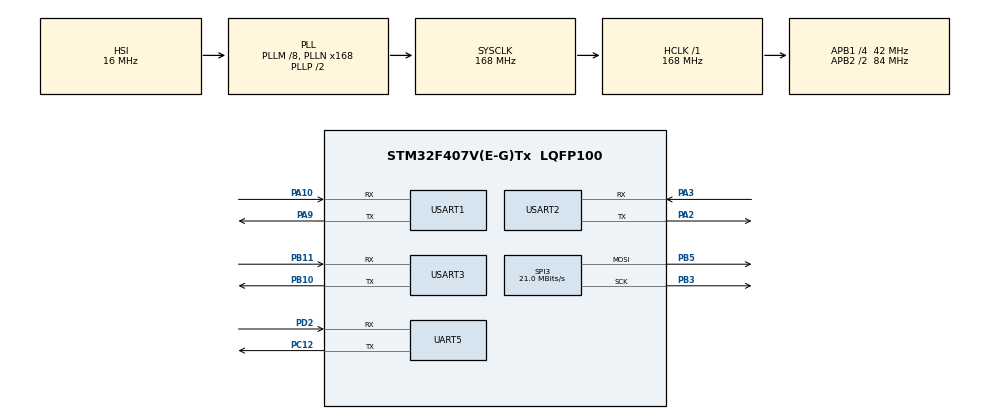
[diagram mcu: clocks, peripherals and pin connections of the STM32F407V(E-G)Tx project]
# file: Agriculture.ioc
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Dma.Request0=USART1_RX
Dma.Request1=USART1_TX
Dma.Request2=USART2_RX
Dma.Request3=USART2_TX
Dma.Request4=USART3_RX
Dma.Request5=USART3_TX
Dma.Request6=UART5_RX
Dma.Request7=UART5_TX
Dma.UART5_RX.6.Direction=DMA_PERIPH_TO_MEMORY
Dma.UART5_RX.6.FIFOMode=DMA_FIFOMODE_DISABLE
Dma.UART5_RX.6.Instance=DMA1_Stream0
Dma.UART5_RX.6.MemDataAlignment=DMA_MDATAALIGN_BYTE
Dma.UART5_RX.6.MemInc=DMA_MINC_ENABLE
Dma.UART5_RX.6.Mode=DMA_CIRCULAR
Dma.UART5_RX.6.PeriphDataAlignment=DMA_PDATAALIGN_BYTE
Dma.UART5_RX.6.PeriphInc=DMA_PINC_DISABLE
Dma.UART5_RX.6.Priority=DMA_PRIORITY_LOW
Dma.UART5_TX.7.Direction=DMA_MEMORY_TO_PERIPH
Dma.UART5_TX.7.FIFOMode=DMA_FIFOMODE_DISABLE
Dma.UART5_TX.7.Instance=DMA1_Stream7
Dma.UART5_TX.7.MemDataAlignment=DMA_MDATAALIGN_BYTE
Dma.UART5_TX.7.MemInc=DMA_MINC_ENABLE
Dma.UART5_TX.7.Mode=DMA_NORMAL
Dma.UART5_TX.7.PeriphDataAlignment=DMA_PDATAALIGN_BYTE
Dma.UART5_TX.7.PeriphInc=DMA_PINC_DISABLE
Dma.UART5_TX.7.Priority=DMA_PRIORITY_LOW
Dma.USART1_RX.0.Direction=DMA_PERIPH_TO_MEMORY
Dma.USART1_RX.0.FIFOMode=DMA_FIFOMODE_DISABLE
Dma.USART1_RX.0.Instance=DMA2_Stream2
Dma.USART1_RX.0.MemDataAlignment=DMA_MDATAALIGN_BYTE
Dma.USART1_RX.0.MemInc=DMA_MINC_ENABLE
Dma.USART1_RX.0.Mode=DMA_CIRCULAR
Dma.USART1_RX.0.PeriphDataAlignment=DMA_PDATAALIGN_BYTE
Dma.USART1_RX.0.PeriphInc=DMA_PINC_DISABLE
Dma.USART1_RX.0.Priority=DMA_PRIORITY_LOW
Dma.USART1_TX.1.Direction=DMA_MEMORY_TO_PERIPH
Dma.USART1_TX.1.FIFOMode=DMA_FIFOMODE_DISABLE
Dma.USART1_TX.1.Instance=DMA2_Stream7
Dma.USART1_TX.1.MemDataAlignment=DMA_MDATAALIGN_BYTE
Dma.USART1_TX.1.MemInc=DMA_MINC_ENABLE
Dma.USART1_TX.1.Mode=DMA_NORMAL
Dma.USART1_TX.1.PeriphDataAlignment=DMA_PDATAALIGN_BYTE
Dma.USART1_TX.1.PeriphInc=DMA_PINC_DISABLE
Dma.USART1_TX.1.Priority=DMA_PRIORITY_LOW
Dma.USART2_RX.2.Direction=DMA_PERIPH_TO_MEMORY
Dma.USART2_RX.2.FIFOMode=DMA_FIFOMODE_DISABLE
Dma.USART2_RX.2.Instance=DMA1_Stream5
Dma.USART2_RX.2.MemDataAlignment=DMA_MDATAALIGN_BYTE
Dma.USART2_RX.2.MemInc=DMA_MINC_ENABLE
Dma.USART2_RX.2.Mode=DMA_CIRCULAR
Dma.USART2_RX.2.PeriphDataAlignment=DMA_PDATAALIGN_BYTE
Dma.USART2_RX.2.PeriphInc=DMA_PINC_DISABLE
Dma.USART2_RX.2.Priority=DMA_PRIORITY_LOW
Dma.USART2_TX.3.Direction=DMA_MEMORY_TO_PERIPH
Dma.USART2_TX.3.FIFOMode=DMA_FIFOMODE_DISABLE
Dma.USART2_TX.3.Instance=DMA1_Stream6
Dma.USART2_TX.3.MemDataAlignment=DMA_MDATAALIGN_BYTE
Dma.USART2_TX.3.MemInc=DMA_MINC_ENABLE
Dma.USART2_TX.3.Mode=DMA_NORMAL
Dma.USART2_TX.3.PeriphDataAlignment=DMA_PDATAALIGN_BYTE
Dma.USART2_TX.3.PeriphInc=DMA_PINC_DISABLE
Dma.USART2_TX.3.Priority=DMA_PRIORITY_LOW
Dma.USART3_RX.4.Direction=DMA_PERIPH_TO_MEMORY
Dma.USART3_RX.4.FIFOMode=DMA_FIFOMODE_DISABLE
Dma.USART3_RX.4.Instance=DMA1_Stream1
Dma.USART3_RX.4.MemDataAlignment=DMA_MDATAALIGN_BYTE
Dma.USART3_RX.4.MemInc=DMA_MINC_ENABLE
Dma.USART3_RX.4.Mode=DMA_CIRCULAR
Dma.USART3_RX.4.PeriphDataAlignment=DMA_PDATAALIGN_BYTE
Dma.USART3_RX.4.PeriphInc=DMA_PINC_DISABLE
Dma.USART3_RX.4.Priority=DMA_PRIORITY_LOW
Dma.USART3_TX.5.Direction=DMA_MEMORY_TO_PERIPH
Dma.USART3_TX.5.FIFOMode=DMA_FIFOMODE_DISABLE
Dma.USART3_TX.5.Instance=DMA1_Stream3
Dma.USART3_TX.5.MemDataAlignment=DMA_MDATAALIGN_BYTE
Dma.USART3_TX.5.MemInc=DMA_MINC_ENABLE
Dma.USART3_TX.5.Mode=DMA_NORMAL
Dma.USART3_TX.5.PeriphDataAlignment=DMA_PDATAALIGN_BYTE
Dma.USART3_TX.5.PeriphInc=DMA_PINC_DISABLE
Dma.USART3_TX.5.Priority=DMA_PRIORITY_LOW
FREERTOS.Tasks01=Chassis_Task,17,512,StartChassis_Task,Default,NULL,Dynamic,NULL,NULL;Data_Task,24,512,StartData_Task,Default,NULL,Dynamic,NULL,NULL
FREERTOS.configMINIMAL_STACK_SIZE=512
FREERTOS.configTOTAL_HEAP_SIZE=40000
Mcu.Family=STM32F4
Mcu.Name=STM32F407V(E-G)Tx
Mcu.Package=LQFP100
NVIC.DMA1_Stream0_IRQn=true\:5\:0\:false\:false\:true\:true\:false\:true\:true
NVIC.DMA1_Stream1_IRQn=true\:5\:0\:false\:false\:true\:true\:false\:true\:true
NVIC.DMA1_Stream3_IRQn=true\:5\:0\:false\:false\:true\:true\:false\:true\:true
NVIC.DMA1_Stream5_IRQn=true\:5\:0\:false\:false\:true\:true\:false\:true\:true
NVIC.DMA1_Stream6_IRQn=true\:5\:0\:false\:false\:true\:true\:false\:true\:true
NVIC.DMA1_Stream7_IRQn=true\:5\:0\:false\:false\:true\:true\:false\:true\:true
NVIC.DMA2_Stream2_IRQn=true\:5\:0\:false\:false\:true\:true\:false\:true\:true
NVIC.DMA2_Stream7_IRQn=true\:5\:0\:false\:false\:true\:true\:false\:true\:true
NVIC.PriorityGroup=NVIC_PRIORITYGROUP_4
NVIC.TIM6_DAC_IRQn=true\:15\:0\:false\:false\:true\:false\:false\:true\:true
NVIC.TimeBase=TIM6_DAC_IRQn
NVIC.TimeBaseIP=TIM6
NVIC.UART5_IRQn=true\:5\:0\:false\:false\:true\:true\:false\:true\:true
NVIC.USART1_IRQn=true\:5\:0\:false\:false\:true\:true\:false\:true\:true
NVIC.USART2_IRQn=true\:5\:0\:false\:false\:true\:true\:false\:true\:true
NVIC.USART3_IRQn=true\:5\:0\:false\:false\:true\:true\:false\:true\:true
PA10.Mode=Asynchronous
PA10.Signal=USART1_RX
PA13.Mode=Serial_Wire
PA13.Signal=SYS_JTMS-SWDIO
PA14.Mode=Serial_Wire
PA14.Signal=SYS_JTCK-SWCLK
PA2.Mode=Asynchronous
PA2.Signal=USART2_TX
PA3.Mode=Asynchronous
PA3.Signal=USART2_RX
PA9.Mode=Asynchronous
PA9.Signal=USART1_TX
PB10.Mode=Asynchronous
PB10.Signal=USART3_TX
PB11.Mode=Asynchronous
PB11.Signal=USART3_RX
PB3.Mode=TX_Only_Simplex_Unidirect_Master
PB3.Signal=SPI3_SCK
PB5.Mode=TX_Only_Simplex_Unidirect_Master
PB5.Signal=SPI3_MOSI
PC12.Mode=Asynchronous
PC12.Signal=UART5_TX
PC14-OSC32_IN.Mode=LSE-External-Oscillator
PC14-OSC32_IN.Signal=RCC_OSC32_IN
PC15-OSC32_OUT.Mode=LSE-External-Oscillator
PC15-OSC32_OUT.Signal=RCC_OSC32_OUT
PD2.Mode=Asynchronous
PD2.Signal=UART5_RX
PH0-OSC_IN.Mode=HSE-External-Oscillator
PH0-OSC_IN.Signal=RCC_OSC_IN
PH1-OSC_OUT.Mode=HSE-External-Oscillator
PH1-OSC_OUT.Signal=RCC_OSC_OUT
ProjectManager.HeapSize=0x200
ProjectManager.StackSize=0x400
ProjectManager.TargetToolchain=Makefile
RCC.48MHZClocksFreq_Value=84000000
RCC.AHBFreq_Value=168000000
RCC.APB1CLKDivider=RCC_HCLK_DIV4
RCC.APB1Freq_Value=42000000
RCC.APB1TimFreq_Value=84000000
RCC.APB2CLKDivider=RCC_HCLK_DIV2
RCC.APB2Freq_Value=84000000
RCC.APB2TimFreq_Value=168000000
RCC.CortexFreq_Value=168000000
RCC.HCLKFreq_Value=168000000
RCC.HSE_VALUE=25000000
RCC.HSI_VALUE=16000000
RCC.PLLM=8
RCC.PLLN=168
RCC.SYSCLKFreq_VALUE=168000000
RCC.SYSCLKSource=RCC_SYSCLKSOURCE_PLLCLK
RCC.VCOOutputFreq_Value=336000000
SPI3.BaudRatePrescaler=SPI_BAUDRATEPRESCALER_2
SPI3.CalculateBaudRate=21.0 MBits/s
SPI3.Direction=SPI_DIRECTION_2LINES
SPI3.Mode=SPI_MODE_MASTER
SPI3.VirtualType=VM_MASTER
UART5.VirtualMode=Asynchronous
USART1.VirtualMode=VM_ASYNC
USART2.VirtualMode=VM_ASYNC
USART3.VirtualMode=VM_ASYNC
VP_FREERTOS_VS_CMSIS_V2.Mode=CMSIS_V2
VP_SYS_VS_tim6.Mode=TIM6
board=custom

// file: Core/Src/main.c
/* USER CODE BEGIN Header */
/**
  ******************************************************************************
  * @file           : main.c
  * @brief          : Main program body
  ******************************************************************************
  * @attention
  *
  * Copyright (c) 2026 STMicroelectronics.
  * All rights reserved.
  *
  * This software is licensed under terms that can be found in the LICENSE file
  * in the root directory of this software component.
  * If no LICENSE file comes with this software, it is provided AS-IS.
  *
  ******************************************************************************
  */
/* USER CODE END Header */
#include "main.h"
#include "cmsis_os.h"
#include "dma.h"
#include "spi.h"
#include "usart.h"
#include "gpio.h"

/* USER CODE BEGIN Includes */
#include "lcd_spi_154.h"
/* USER CODE END Includes */

void SystemClock_Config(void);
void MX_FREERTOS_Init(void);

int main(void)
{

  /* MCU Configuration--------------------------------------------------------*/

  /* Reset of all peripherals, Initializes the Flash interface and the Systick. */
  HAL_Init();

  /* Configure the system clock */
  SystemClock_Config();

  /* Initialize all configured peripherals */
  MX_GPIO_Init();
  MX_DMA_Init();
  MX_USART1_UART_Init();
  MX_USART2_UART_Init();
  MX_USART3_UART_Init();
  MX_UART5_Init();
  MX_SPI3_Init();
  /* USER CODE BEGIN 2 */
  SPI_LCD_Init();	  /* 初始化液晶屏 */
  /* USER CODE END 2 */

  /* Init scheduler */
  osKernelInitialize();  /* Call init function for freertos objects (in cmsis_os2.c) */
  MX_FREERTOS_Init();

  /* Start scheduler */
  osKernelStart();

  /* We should never get here as control is now taken by the scheduler */

  /* Infinite loop */
  while (1)
  {

  }
}

void SystemClock_Config(void)
{
  RCC_OscInitTypeDef RCC_OscInitStruct = {0};
  RCC_ClkInitTypeDef RCC_ClkInitStruct = {0};

  /** Configure the main internal regulator output voltage
  */
  __HAL_RCC_PWR_CLK_ENABLE();
  __HAL_PWR_VOLTAGESCALING_CONFIG(PWR_REGULATOR_VOLTAGE_SCALE1);

  /** Initializes the RCC Oscillators according to the specified parameters
  * in the RCC_OscInitTypeDef structure.
  */
  RCC_OscInitStruct.OscillatorType = RCC_OSCILLATORTYPE_HSI;
  RCC_OscInitStruct.HSIState = RCC_HSI_ON;
  RCC_OscInitStruct.HSICalibrationValue = RCC_HSICALIBRATION_DEFAULT;
  RCC_OscInitStruct.PLL.PLLState = RCC_PLL_ON;
  RCC_OscInitStruct.PLL.PLLSource = RCC_PLLSOURCE_HSI;
  RCC_OscInitStruct.PLL.PLLM = 8;
  RCC_OscInitStruct.PLL.PLLN = 168;
  RCC_OscInitStruct.PLL.PLLP = RCC_PLLP_DIV2;
  RCC_OscInitStruct.PLL.PLLQ = 4;
  if (HAL_RCC_OscConfig(&RCC_OscInitStruct) != HAL_OK)
  {
    Error_Handler();
  }

  /** Initializes the CPU, AHB and APB buses clocks
  */
  RCC_ClkInitStruct.ClockType = RCC_CLOCKTYPE_HCLK|RCC_CLOCKTYPE_SYSCLK
                              |RCC_CLOCKTYPE_PCLK1|RCC_CLOCKTYPE_PCLK2;
  RCC_ClkInitStruct.SYSCLKSource = RCC_SYSCLKSOURCE_PLLCLK;
  RCC_ClkInitStruct.AHBCLKDivider = RCC_SYSCLK_DIV1;
  RCC_ClkInitStruct.APB1CLKDivider = RCC_HCLK_DIV4;
  RCC_ClkInitStruct.APB2CLKDivider = RCC_HCLK_DIV2;

  if (HAL_RCC_ClockConfig(&RCC_ClkInitStruct, FLASH_LATENCY_5) != HAL_OK)
  {
    Error_Handler();
  }
}

void HAL_TIM_PeriodElapsedCallback(TIM_HandleTypeDef *htim)
{
  if (htim->Instance == TIM6)
  {
    HAL_IncTick();
  }
}

void Error_Handler(void)
{
  __disable_irq();
  while (1)
  {
  }
}

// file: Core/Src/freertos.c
/* USER CODE BEGIN Header */
/**
  ******************************************************************************
  * File Name          : freertos.c
  * Description        : Code for freertos applications
  ******************************************************************************
  * @attention
  *
  * Copyright (c) 2026 STMicroelectronics.
  * All rights reserved.
  *
  * This software is licensed under terms that can be found in the LICENSE file
  * in the root directory of this software component.
  * If no LICENSE file comes with this software, it is provided AS-IS.
  *
  ******************************************************************************
  */
/* USER CODE END Header */

#include "FreeRTOS.h"
#include "task.h"
#include "main.h"
#include "cmsis_os.h"

/* USER CODE BEGIN Includes */
#include "laser.h"
#include "zdt_motor.h"
#include "lcd_spi_154.h"
#include "lcd_fonts.h"
/* USER CODE END Includes */

/* USER CODE BEGIN Variables */
/* 传感器共享数据：由 DataTask 定时刷新，其他任务只读 */
volatile uint16_t g_front_mm;
volatile uint16_t g_right_mm;
volatile bool     g_front_valid;
volatile bool     g_right_valid;

/* USER CODE END Variables */
/* Definitions for Chassis_Task */
osThreadId_t Chassis_TaskHandle;
const osThreadAttr_t Chassis_Task_attributes = {
  .name = "Chassis_Task",
  .stack_size = 512 * 4,
  .priority = (osPriority_t) osPriorityBelowNormal1,
};
/* Definitions for Data_Task */
osThreadId_t Data_TaskHandle;
const osThreadAttr_t Data_Task_attributes = {
  .name = "Data_Task",
  .stack_size = 512 * 4,
  .priority = (osPriority_t) osPriorityNormal,
};

/* USER CODE BEGIN FunctionPrototypes */
static void chassis_move_until(ZDT_MoveDir dir, LaserID laser, bool until_le, uint16_t threshold_mm);
/* USER CODE END FunctionPrototypes */

void StartChassis_Task(void *argument);
void StartData_Task(void *argument);

void MX_FREERTOS_Init(void); /* (MISRA C 2004 rule 8.1) */

void MX_FREERTOS_Init(void) {

  /* Create the thread(s) */
  /* creation of Chassis_Task */
  Chassis_TaskHandle = osThreadNew(StartChassis_Task, NULL, &Chassis_Task_attributes);

  /* creation of Data_Task */
  Data_TaskHandle = osThreadNew(StartData_Task, NULL, &Data_Task_attributes);

}

void StartChassis_Task(void *argument)
{
  /* USER CODE BEGIN StartChassis_Task */
  int state = 0;

  /* 上电初始化：电机、激光 */
  ZDT_Motor_Init();
  Laser_Init();

  /* 上电后等待 5s：待激光测距稳定后再开始走 */
  osDelay(5000);

  for (;;)
  {
    switch (state)
    {
      case 0:   /* 向右行驶，直到 right <= 359.5cm (3595mm) */
        chassis_move_until(MOVE_RIGHT, LASER_RIGHT, true, 3595);
        break;
      case 1:   /* 向后行驶（横向居中），直到 front >= 256cm (2560mm) */
        ZDT_Chassis_Drive_LaserCenter(MOVE_BACKWARD, ZDT_DEFAULT_SPEED_RPM, LASER_FRONT, false, 2560);
        break;
      case 2:   /* 向右行驶，直到 right <= 289.5cm (2895mm) */
        chassis_move_until(MOVE_RIGHT, LASER_RIGHT, true, 2895);
        break;
      case 3:   /* 向前行驶（横向居中），直到 front <= 6cm (50mm) */
        ZDT_Chassis_Drive_LaserCenter(MOVE_FORWARD, ZDT_DEFAULT_SPEED_RPM, LASER_FRONT, true, 50);
        break;
      case 4:   /* 向右行驶，直到 right <= 219.5cm (2195mm) */
        chassis_move_until(MOVE_RIGHT, LASER_RIGHT, true, 2195);
        break;
      case 5:   /* 向后行驶（横向居中），直到 front >= 256cm (2560mm) */
        ZDT_Chassis_Drive_LaserCenter(MOVE_BACKWARD, ZDT_DEFAULT_SPEED_RPM, LASER_FRONT, false, 2560);
        break;
      case 6:   /* 向右行驶，直到 right <= 149.5cm (1495mm) */
        chassis_move_until(MOVE_RIGHT, LASER_RIGHT, true, 1495);
        break;
      case 7:   /* 向前行驶（横向居中），直到 front <= 6cm (50mm) */
        ZDT_Chassis_Drive_LaserCenter(MOVE_FORWARD, ZDT_DEFAULT_SPEED_RPM, LASER_FRONT, true, 50);
        break;
      case 8:   /* 向右行驶，直到 right <= 79.5cm (795mm) */
        chassis_move_until(MOVE_RIGHT, LASER_RIGHT, true, 795);
        break;
      case 9:   /* 向后行驶（横向居中），直到 front >= 256cm (2560mm) */
        ZDT_Chassis_Drive_LaserCenter(MOVE_BACKWARD, ZDT_DEFAULT_SPEED_RPM, LASER_FRONT, false, 2560);
        break;
      case 10:  /* 向右行驶，直到 right <= 9.5cm (95mm) */
        chassis_move_until(MOVE_RIGHT, LASER_RIGHT, true, 95);
        break;
      case 11:  /* 向前行驶（横向居中），直到 front <= 6cm (50mm) */
        ZDT_Chassis_Drive_LaserCenter(MOVE_FORWARD, ZDT_DEFAULT_SPEED_RPM, LASER_FRONT, true, 50);
        break;
      case 12:  /* 向左行驶 4m + 前侧激光纵向居中（纵向 PID，目标 50mm） */
        ZDT_Chassis_Drive_LongCenter(MOVE_LEFT, ZDT_DEFAULT_SPEED_RPM, 4200.0f);
        break;

      default:  /* 全部动作完成：停车待机 */
        ZDT_Chassis_Stop();
        osDelay(1000);
        continue;
    }

    /* 停下后等待 500ms */
    osDelay(500);
    state++;
  }
  /* USER CODE END StartChassis_Task */
}

void StartData_Task(void *argument)
{
  /* USER CODE BEGIN StartData_Task */
  /* 传感器数据采集任务：50Hz 定时读取两路激光距离，写入共享变量 */

  /* LCD 显示初始化：设置字体与数字补位方式 */
  LCD_SetAsciiFont(&ASCII_Font16);
  LCD_ShowNumMode(Fill_Space);

  for (;;)
  {
    g_front_mm    = Laser_GetDistance(LASER_FRONT);
    g_right_mm    = Laser_GetDistance(LASER_RIGHT);
    g_front_valid = Laser_IsValid(LASER_FRONT);
    g_right_valid = Laser_IsValid(LASER_RIGHT);

    /* 将两个读取值显示在 LCD 上 */
    LCD_DisplayString(10, 60, "Front:");
    LCD_DisplayNumber(70, 60, (int32_t)g_front_mm, 5);

    LCD_DisplayString(10, 90, "Right:");
    LCD_DisplayNumber(70, 90, (int32_t)g_right_mm, 5);

    osDelay(20);   /* 20ms = 50Hz */
  }
  /* USER CODE END StartData_Task */
}

/* USER CODE BEGIN Application */
/* 开环行驶的“足够远”距离(mm)：先下发该距离的位置命令，行驶途中由激光触发停车 */
#define CHASSIS_FAR_MM   (100000.0f)

/* 向 dir 方向连续行驶，直到指定激光满足阈值后停车（开环位置模式，不使用 PID）。
 *   until_le = true  : 距离 <= threshold_mm 时停车
 *   until_le = false : 距离 >= threshold_mm 时停车
 *   激光无效(尚未收到有效帧/超量程)时继续行驶，避免把 0 误判为“很近”。 */
static void chassis_move_until(ZDT_MoveDir dir, LaserID laser, bool until_le, uint16_t threshold_mm)
{
    ZDT_Chassis_Move(dir, CHASSIS_FAR_MM);   /* 开环启动，不使用 PID */

    for (;;)
    {
        uint16_t d  = Laser_GetDistance(laser);
        bool     ok = Laser_IsValid(laser) &&
                      (until_le ? (d <= threshold_mm) : (d >= threshold_mm));

        if (ok)
        {
            break;
        }
        osDelay(10);   /* 10ms 轮询一次 */
    }

    ZDT_Chassis_Stop();
}
/* USER CODE END Application */
